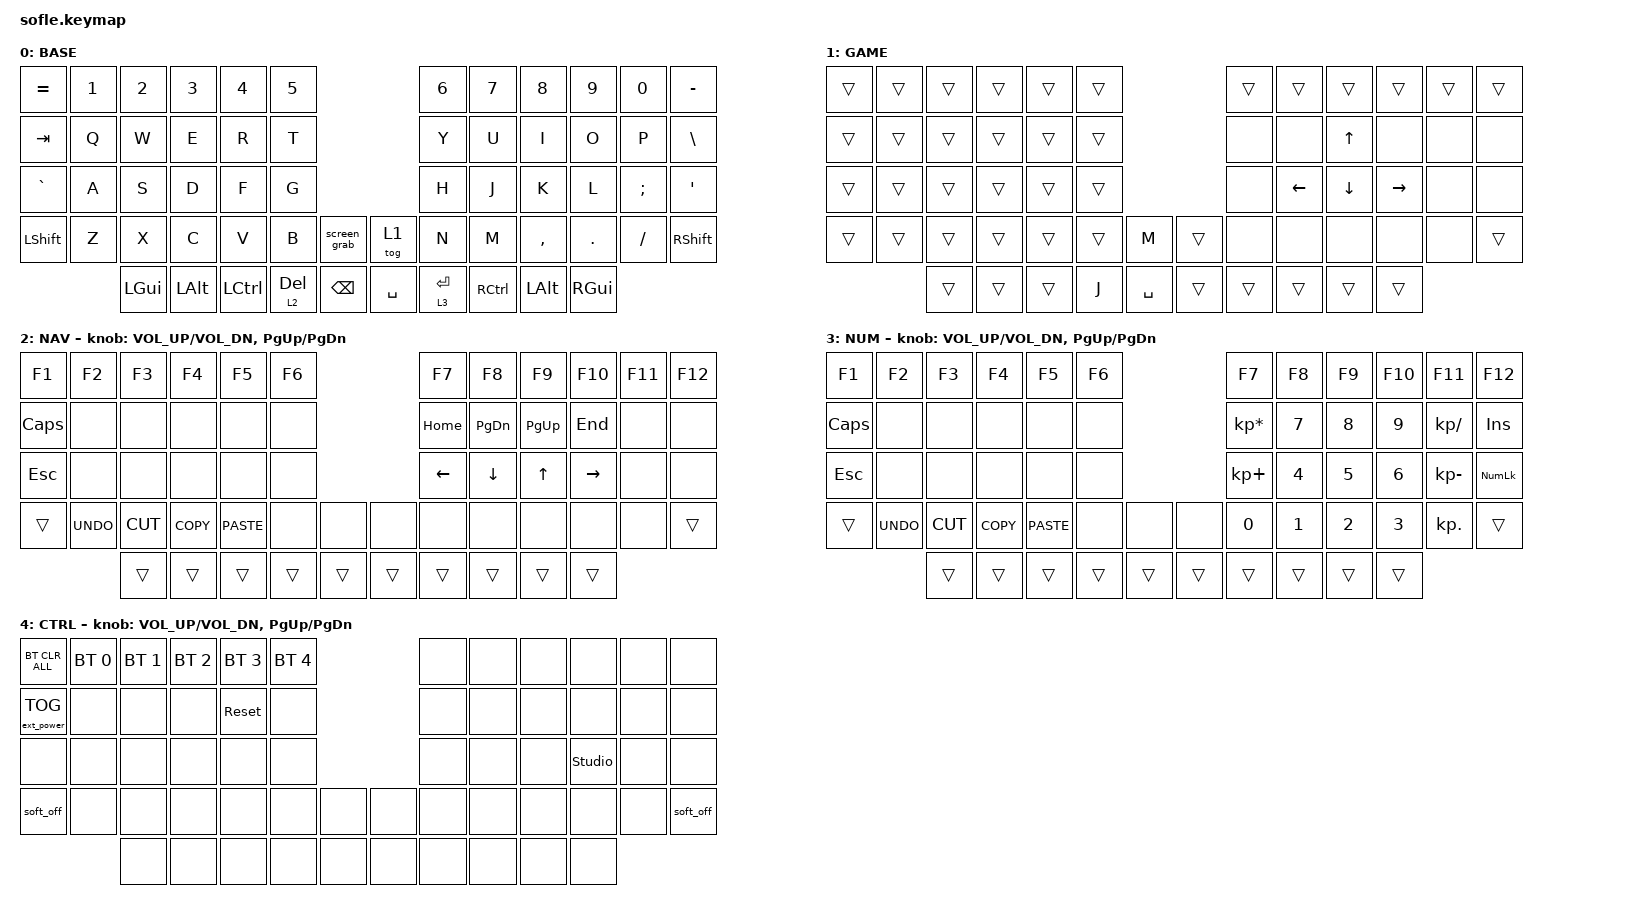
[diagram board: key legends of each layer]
/*
 * Copyright (c) 2020 The ZMK Contributors
 *
 * SPDX-License-Identifier: MIT
 */

#include <behaviors.dtsi>
#include <dt-bindings/zmk/bt.h>
#include <dt-bindings/zmk/ext_power.h>
#include <dt-bindings/zmk/keys.h>

#define BASE 0
#define LOWER 1
#define RAISE 2
#define ADJUST 3
#define extra_layer 4

/ {
    // Activate ADJUST layer by pressing raise and lower

    conditional_layers {
        compatible = "zmk,conditional-layers";

        adjust_layer {
            if-layers = <2 3>;
            then-layer = <4>;
        };
    };

    combos {
        compatible = "zmk,combos";

        esc {
            bindings = <&kp ESCAPE>;
            key-positions = <14 15>;
        };

        l_bracket {
            bindings = <&kp LEFT_BRACKET>;
            key-positions = <26 27>;
        };

        r_bracket {
            bindings = <&kp RIGHT_BRACKET>;
            key-positions = <32 33>;
        };
    };

    behaviors {
        screen_grab: screen_grab {
            compatible = "zmk,behavior-tap-dance";
            label = "SCREEN_GRAB";
            #binding-cells = <0>;
            bindings = <&kp LG(LS(F13))>, <&kp LG(F13)>, <&kp F13>;
        };
    };

    keymap {
        compatible = "zmk,keymap";

        base {
            display-name = " BASE";

            // ------------------------------------------------------------------------------------------------------------
            // |   `   |  1  |  2  |  3   |  4   |  5   |                   |  6   |  7    |  8    |  9   |   0   |       |
            // |  ESC  |  Q  |  W  |  E   |  R   |  T   |                   |  Y   |  U    |  I    |  O   |   P   | BKSPC |
            // |  TAB  |  A  |  S  |  D   |  F   |  G   |                   |  H   |  J    |  K    |  L   |   ;   |   '   |
            // | SHIFT |  Z  |  X  |  C   |  V   |  B   |  MUTE  |  |       |  N   |  M    |  ,    |  .   |   /   | SHIFT |
            //               | GUI | ALT  | CTRL | LOWER|  ENTER |  | SPACE | RAISE| CTRL  | ALT   | GUI  |

            bindings = <
&kp EQUAL       &kp N1  &kp N2    &kp N3    &kp N4     &kp N5                                 &kp N6     &kp N7     &kp N8     &kp N9    &kp N0    &kp MINUS
&kp TAB         &kp Q   &kp W     &kp E     &kp R      &kp T                                  &kp Y      &kp U      &kp I      &kp O     &kp P     &kp BACKSLASH
&kp GRAVE       &kp A   &kp S     &kp D     &kp F      &kp G                                  &kp H      &kp J      &kp K      &kp L     &kp SEMI  &kp SQT
&kp LEFT_SHIFT  &kp Z   &kp X     &kp C     &kp V      &kp B      &screen_grab     &tog 1     &kp N      &kp M      &kp COMMA  &kp DOT   &kp FSLH  &kp RSHFT
                        &kp LGUI  &kp LALT  &kp LCTRL  &lt 2 DEL  &kp BACKSPACE    &kp SPACE  &lt 3 RET  &kp RCTRL  &kp LALT   &kp RGUI
            >;
        };

        gamemode {
            display-name = "GAME";

            // TODO: Some binds are waiting for shifted keycode support.
            // ------------------------------------------------------------------------------------------------------------
            // |       |  F1 |  F2 |  F3  |  F4  |  F5  |                   |  F6  |  F7   |  F8   |  F9  |  F10  |  F11  |
            // |   `   |  1  |  2  |  3   |  4   |  5   |                   |  6   |  7    |  8    |  9   |   0   |  F12  |
            // |       |  !  |  @  |  #   |  $   |  %   |                   |  ^   |  &    |  *    |  (   |   )   |   |   |
            // |       |  =  |  -  |  +   |  {   |  }   |        |  |       |  [   |  ]    |  ;    |  :   |   \   |       |
            //               |     |      |      |      |        |  |       |      |       |       |      |

            bindings = <
&trans  &trans  &trans  &trans  &trans  &trans                       &trans  &trans          &trans          &trans           &trans  &trans
&trans  &trans  &trans  &trans  &trans  &trans                       &none   &none           &kp UP_ARROW    &none            &none   &none
&trans  &trans  &trans  &trans  &trans  &trans                       &none   &kp LEFT_ARROW  &kp DOWN_ARROW  &kp RIGHT_ARROW  &none   &none
&trans  &trans  &trans  &trans  &trans  &trans  &kp M        &trans  &none   &none           &none           &none            &none   &trans
                &trans  &trans  &trans  &kp J   &kp SPACE    &trans  &trans  &trans          &trans          &trans
            >;
        };

        navigation {
            display-name = "NAV";

            // ------------------------------------------------------------------------------------------------------------
            // | BTCLR | BT1  | BT2  |  BT3  |  BT4  |  BT5 |                |      |      |       |      |       |       |
            // |       | INS  | PSCR | GUI   |       |      |                | PGUP |      |   ^   |      |       |       |
            // |       | ALT  | CTRL | SHIFT |       | CAPS |                | PGDN |   <- |   v   |  ->  |  DEL  | BKSPC |
            // |       | UNDO | CUT  | COPY  | PASTE |      |      |  |      |      |      |       |      |       |       |
            //                |      |       |       |      |      |  |      |      |      |       |      |

            bindings = <
&kp F1    &kp F2      &kp F3     &kp F4      &kp F5       &kp F6                    &kp F7          &kp F8          &kp F9        &kp F10    &kp F11  &kp F12
&kp CAPS  &none       &none      &none       &none        &none                     &kp HOME        &kp PAGE_DOWN   &kp PAGE_UP   &kp END    &none    &none
&kp ESC   &none       &none      &none       &none        &none                     &kp LEFT_ARROW  &kp DOWN_ARROW  &kp UP_ARROW  &kp RIGHT  &none    &none
&trans    &kp K_UNDO  &kp K_CUT  &kp K_COPY  &kp K_PASTE  &none   &none     &none   &none           &none           &none         &none      &none    &trans
                      &trans     &trans      &trans       &trans  &trans    &trans  &trans          &trans          &trans        &trans
            >;

            sensor-bindings = <&inc_dec_kp C_VOL_UP C_VOL_DN &inc_dec_kp PG_UP PG_DN>;
        };

        numpad {
            // ----------------------------------------------------------------------------------------------------------------------------
            // | BTCLR  |  BT1    |  BT2    |   BT3   |   BT4   |   BT5   |                  |      |      |       |      |       |       |
            // | EXTPWR | RGB_HUD | RGB_HUI | RGB_SAD | RGB_SAI | RGB_EFF |                  |      |      |       |      |       |       |
            // |        | RGB_BRD | RGB_BRI |         |         |         |                  |      |      |       |      |       |       |
            // |        |         |         |         |         |         | RGB_TOG | |      |      |      |       |      |       |       |
            //                    |         |         |         |         |         | |      |      |      |       |      |

            display-name = "NUM";
            bindings = <
&kp F1    &kp F2      &kp F3     &kp F4      &kp F5       &kp F6                    &kp F7           &kp F8        &kp F9        &kp F10       &kp F11          &kp F12
&kp CAPS  &none       &none      &none       &none        &none                     &kp KP_MULTIPLY  &kp NUMBER_7  &kp NUMBER_8  &kp NUMBER_9  &kp KP_DIVIDE    &kp INS
&kp ESC   &none       &none      &none       &none        &none                     &kp KP_PLUS      &kp NUMBER_4  &kp NUMBER_5  &kp NUMBER_6  &kp KP_SUBTRACT  &kp KP_NUM
&trans    &kp K_UNDO  &kp K_CUT  &kp K_COPY  &kp K_PASTE  &none   &none     &none   &kp NUMBER_0     &kp NUMBER_1  &kp NUMBER_2  &kp NUMBER_3  &kp KP_DOT       &trans
                      &trans     &trans      &trans       &trans  &trans    &trans  &trans           &trans        &trans        &trans
            >;

            sensor-bindings = <&inc_dec_kp C_VOL_UP C_VOL_DN &inc_dec_kp PG_UP PG_DN>;
        };

        adjust_layer {
            // ----------------------------------------------------------------------------------------------------------------------------
            // | BTCLR  |  BT1    |  BT2    |   BT3   |   BT4   |   BT5   |                  |      |      |       |      |       |       |
            // | EXTPWR | RGB_HUD | RGB_HUI | RGB_SAD | RGB_SAI | RGB_EFF |                  |      |      |       |      |       |       |
            // |        | RGB_BRD | RGB_BRI |         |         |         |                  |      |      |       |      |       |       |
            // |        |         |         |         |         |         | RGB_TOG | |      |      |      |       |      |       |       |
            //                    |         |         |         |         |         | |      |      |      |       |      |

            display-name = "CTRL";
            bindings = <
&bt BT_CLR_ALL     &bt BT_SEL 0  &bt BT_SEL 1  &bt BT_SEL 2  &bt BT_SEL 3  &bt BT_SEL 4                  &none  &none  &none  &none           &none  &none
&ext_power EP_TOG  &none         &none         &none         &sys_reset    &none                         &none  &none  &none  &none           &none  &none
&none              &none         &none         &none         &none         &none                         &none  &none  &none  &studio_unlock  &none  &none
&soft_off          &none         &none         &none         &none         &none         &none    &none  &none  &none  &none  &none           &none  &soft_off
                                 &none         &none         &none         &none         &none    &none  &none  &none  &none  &none
            >;

            sensor-bindings = <&inc_dec_kp C_VOL_UP C_VOL_DN &inc_dec_kp PG_UP PG_DN>;
        };
    };
};
